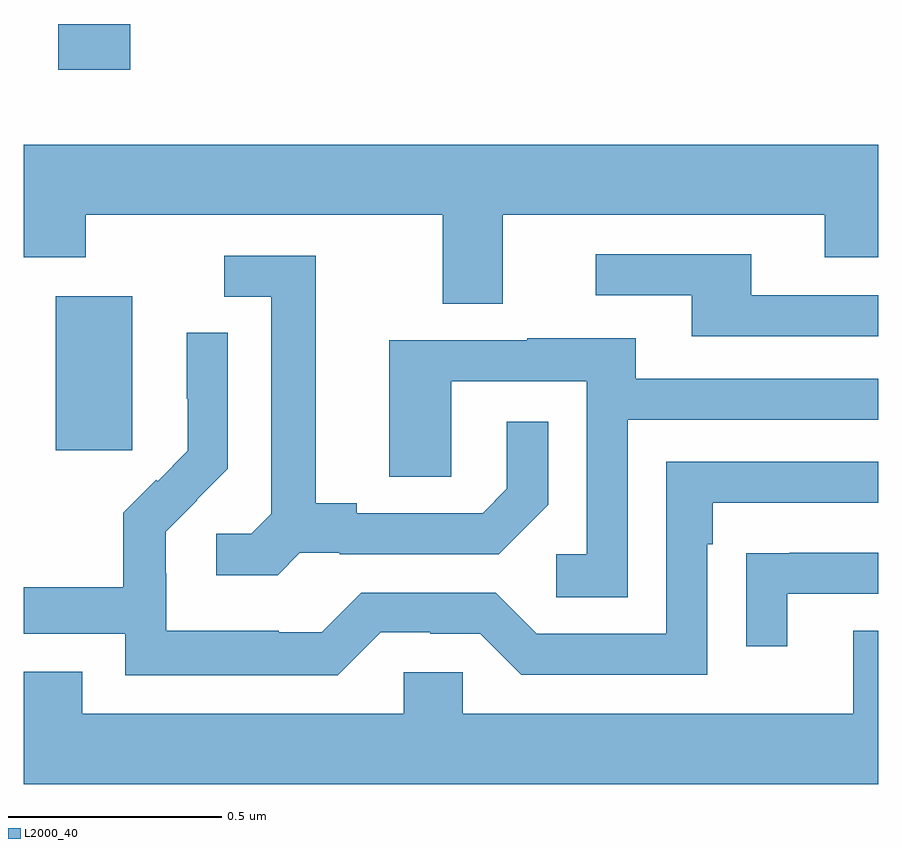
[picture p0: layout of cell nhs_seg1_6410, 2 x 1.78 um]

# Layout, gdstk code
import gdstk
lib = gdstk.Library(unit=1e-6, precision=1e-09)
def R(c, l, rs):  # rectangles x0, y0, x1, y1
    for r in rs: c.add(gdstk.rectangle(r[:2], r[2:], *l))
def P(c, l, *ps):  # polygons
    for p in ps: c.add(gdstk.Polygon(p, *l))
L2000_40 = (2000, 40)

nhs_seg1_6410 = lib.new_cell('nhs_seg1_6410')
R(nhs_seg1_6410, L2000_40, [(191.075,531.201,191.254,531.562), (191.081,532.092,191.249,532.199)])
P(nhs_seg1_6410, L2000_40, [(192.121,531.752),(192.875,531.752),(192.875,531.653),(193,531.653),(193,531.916),(191,531.916),(191,531.653),(191.145,531.653),(191.145,531.752),(191.981,531.752),(191.981,531.544),(192.121,531.544)],
  [(193,531.564),(192.703,531.564),(192.703,531.66),(192.339,531.66),(192.339,531.564),(192.563,531.564),(192.563,531.468),(193,531.468)],
  [(191.646,530.961),(191.74,530.961),(191.74,530.958),(192.112,530.958),(192.228,531.074),(192.228,531.268),(192.131,531.268),(192.131,531.111),(192.074,531.054),(191.779,531.054),(191.779,531.077),(191.683,531.077),(191.683,531.657),(191.469,531.657),(191.469,531.561),(191.579,531.561),(191.579,531.053),(191.532,531.006),(191.451,531.006),(191.451,530.909),(191.594,530.909)],
  [(191.835,530.775),(191.951,530.775),(191.951,530.772),(192.069,530.772),(192.165,530.676),(192.6,530.676),(192.6,530.981),(192.613,530.981),(192.613,531.078),(193,531.078),(193,531.174),(192.504,531.174),(192.504,530.772),(192.201,530.772),(192.105,530.868),(191.79,530.868),(191.697,530.775),(191.597,530.775),(191.597,530.779),(191.334,530.779),(191.334,530.913),(191.332,530.913),(191.332,531.01),(191.406,531.084),(191.405,531.085),(191.478,531.158),(191.478,531.476),(191.382,531.476),(191.382,531.322),(191.384,531.322),(191.384,531.2),(191.313,531.129),(191.31,531.132),(191.233,531.055),(191.233,530.881),(191,530.881),(191,530.772),(191.238,530.772),(191.238,530.675),(191.735,530.675)],
  [(192.414,531.273),(193,531.273),(193,531.369),(192.433,531.369),(192.433,531.463),(192.179,531.463),(192.179,531.459),(191.855,531.459),(191.855,531.139),(192,531.139),(192,531.363),(192.318,531.363),(192.318,530.958),(192.246,530.958),(192.246,530.857),(192.414,530.857)],
  [(192.787,530.865),(193,530.865),(193,530.961),(192.793,530.961),(192.793,530.96),(192.691,530.96),(192.691,530.742),(192.787,530.742)],
  [(193,530.779),(192.941,530.779),(192.941,530.584),(192.027,530.584),(192.027,530.682),(191.889,530.682),(191.889,530.584),(191.137,530.584),(191.137,530.683),(191,530.683),(191,530.42),(193,530.42)])

lib.write_gds('nhs_seg1_6410.gds')
